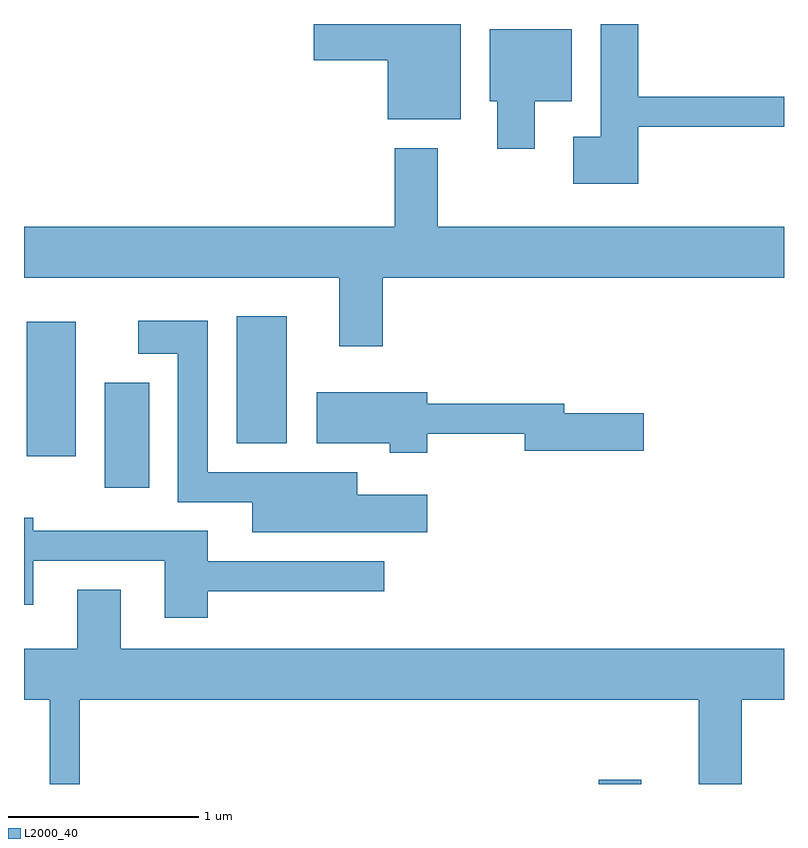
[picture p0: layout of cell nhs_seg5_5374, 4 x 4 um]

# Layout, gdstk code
import gdstk
lib = gdstk.Library(unit=1e-6, precision=1e-09)
def R(c, l, rs):  # rectangles x0, y0, x1, y1
    for r in rs: c.add(gdstk.rectangle(r[:2], r[2:], *l))
def P(c, l, *ps):  # polygons
    for p in ps: c.add(gdstk.Polygon(p, *l))
L2000_40 = (2000, 40)

nhs_seg5_5374 = lib.new_cell('nhs_seg5_5374')
R(nhs_seg5_5374, L2000_40, [(346.636,1514.072,346.859,1514.094), (344.036,1515.631,344.269,1516.184), (343.626,1515.796,343.884,1516.504), (344.731,1515.866,344.994,1516.534)])
P(nhs_seg5_5374, L2000_40, [(346.844,1517.531),(347.611,1517.531),(347.611,1517.689),(346.844,1517.689),(346.844,1518.072),(346.646,1518.072),(346.646,1517.479),(346.501,1517.479),(346.501,1517.231),(346.844,1517.231)],
  [(345.909,1518.072),(345.136,1518.072),(345.136,1517.881),(345.526,1517.881),(345.526,1517.571),(345.909,1517.571)],
  [(346.299,1517.666),(346.494,1517.666),(346.494,1518.044),(346.061,1518.044),(346.061,1517.666),(346.101,1517.666),(346.101,1517.416),(346.299,1517.416)],
  [(345.499,1516.736),(347.611,1516.736),(347.611,1517.004),(345.789,1517.004),(345.789,1517.419),(345.561,1517.419),(345.561,1517.004),(343.611,1517.004),(343.611,1516.736),(345.271,1516.736),(345.271,1516.376),(345.499,1516.376)],
  [(345.734,1515.594),(345.364,1515.594),(345.364,1515.714),(344.579,1515.714),(344.579,1516.509),(344.211,1516.509),(344.211,1516.336),(344.421,1516.336),(344.421,1515.556),(344.811,1515.556),(344.811,1515.396),(345.734,1515.396)],
  [(345.734,1515.916),(346.246,1515.916),(346.246,1515.826),(346.874,1515.826),(346.874,1516.024),(346.454,1516.024),(346.454,1516.074),(345.734,1516.074),(345.734,1516.134),(345.151,1516.134),(345.151,1515.866),(345.536,1515.866),(345.536,1515.816),(345.734,1515.816)],
  [(344.579,1515.086),(345.508,1515.086),(345.508,1515.244),(344.579,1515.244),(344.579,1515.404),(343.659,1515.404),(343.659,1515.474),(343.611,1515.474),(343.611,1515.016),(343.659,1515.016),(343.659,1515.246),(344.351,1515.246),(344.351,1514.946),(344.579,1514.946)],
  [(343.904,1514.516),(347.161,1514.516),(347.161,1514.072),(347.389,1514.072),(347.389,1514.516),(347.611,1514.516),(347.611,1514.784),(344.119,1514.784),(344.119,1515.094),(343.891,1515.094),(343.891,1514.784),(343.611,1514.784),(343.611,1514.516),(343.746,1514.516),(343.746,1514.072),(343.904,1514.072)])

lib.write_gds('nhs_seg5_5374.gds')
